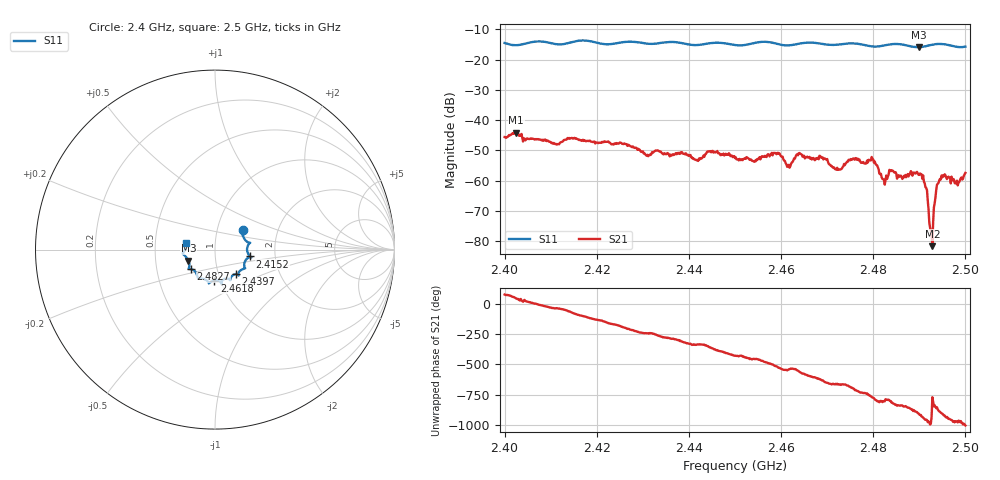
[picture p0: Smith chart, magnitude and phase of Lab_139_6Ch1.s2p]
# Hz S RI R 50
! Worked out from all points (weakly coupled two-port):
!   601 points, 2.4 GHz to 2.5 GHz, reference 50 ohm
!   highest |S21| = -44.21 dB at 2.4025 GHz (marker M1); lowest = -81.7 dB at 2.4928 GHz (marker M2)
!   lowest |S11| = -15.9 dB at 2.4898 GHz (marker M3), VSWR 1.38, Z = 36.9 - j4.62 ohm
!   |S11| at or under -10 dB: start of sweep to end of sweep
!   S12 and S22 are empty: the file has one direction only
!   S11 on the Smith chart (normalised r, x): 2.4 GHz: 1.33, +0.29; 2.4152 GHz: 1.48, -0.12; 2.4397 GHz: 1.21, -0.34; 2.4618 GHz: 0.94, -0.33; 2.4827 GHz: 0.75, -0.17; 2.5 GHz: 0.72, +0.06
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2.4e9  0.155 0.1068  0.00128 0.00507  0 0  0 0
2.4025e9  0.1605 0.0665  0.00443 0.00428  0 0  0 0
2.415167e9  0.1956 -0.0383  0.000844 -0.00502  0 0  0 0
2.416667e9  0.2026 -0.0434  -0.000617 -0.0045  0 0  0 0
2.433333e9  0.1299 -0.1337  -0.000348 0.00311  0 0  0 0
2.439667e9  0.117 -0.1363  0.00217 0.00149  0 0  0 0
2.45e9  0.0648 -0.162  0.000814 -0.00221  0 0  0 0
2.459167e9  0.0293 -0.1799  -0.00268 -0.000974  0 0  0 0
2.461833e9  -0.00301 -0.1724  -0.00163 -1.22e-05  0 0  0 0
2.463833e9  -0.0263 -0.1811  -0.00271 0.000821  0 0  0 0
2.466667e9  -0.0342 -0.1881  -0.00104 0.00197  0 0  0 0
2.472333e9  -0.074 -0.1608  0.00089 0.00122  0 0  0 0
2.4795e9  -0.1063 -0.128  0.00153 -0.00151  0 0  0 0
2.482667e9  -0.1351 -0.1086  0.000377 -0.000956  0 0  0 0
2.483333e9  -0.1401 -0.1082  0.000375 -0.00119  0 0  0 0
2.489833e9  -0.1481 -0.0611  -0.00124 0.000129  0 0  0 0
2.491167e9  -0.1595 -0.0429  -0.000539 0.000727  0 0  0 0
2.492333e9  -0.1707 -0.0312  1.99e-05 0.000165  0 0  0 0
2.492833e9  -0.1747 -0.0276  5.08e-05 -6.46e-05  0 0  0 0
2.493667e9  -0.1795 -0.0235  -0.000547 -0.000429  0 0  0 0
2.494667e9  -0.1804 -0.0204  -0.00104 -8.3e-06  0 0  0 0
2.5e9  -0.1593 0.0382  0.000343 0.00129  0 0  0 0
